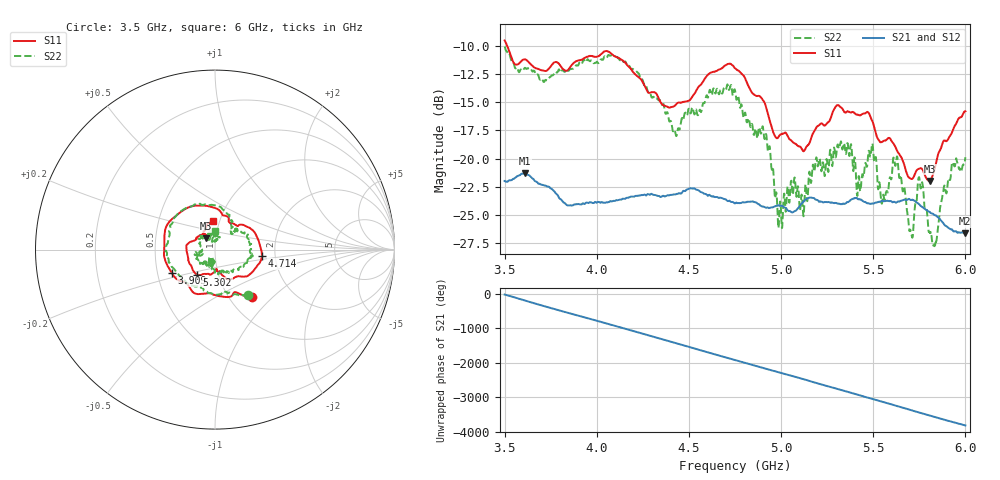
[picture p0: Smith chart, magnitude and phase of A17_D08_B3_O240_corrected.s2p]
! Created with skrf 1.9.0 (http://scikit-rf.org).
# Hz S RI R 50.0
!freq ReS11 ImS11 ReS21 ImS21 ReS12 ImS12 ReS22 ImS22
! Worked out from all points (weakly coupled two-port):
!   1601 points, 3.5 GHz to 6 GHz, reference 50 ohm
!   highest |S21| = -21.29 dB at 3.609 GHz (marker M1); lowest = -26.6 dB at 5.997 GHz (marker M2)
!   lowest |S11| = -22.0 dB at 5.806 GHz (marker M3), VSWR 1.17, Z = 44.9 + j5.6 ohm
!   |S11| at or under -10 dB: 3.514 GHz to end of sweep
!   |S22| runs from -27.8 to -10.1 dB; largest |S21 - S12| = 0.001
!   S11 on the Smith chart (normalised r, x): 3.5 GHz: 1.27, -0.75; 3.909 GHz: 0.60, -0.17; 4.714 GHz: 1.70, -0.13; 5.302 GHz: 0.79, -0.23; 6 GHz: 0.93, +0.31
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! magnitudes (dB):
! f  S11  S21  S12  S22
! 3.5 GHz  -9.5  -22.0  -22.0  -10.1
! 3.609 GHz  -11.2  -21.3  -21.3  -11.9
! 3.909 GHz  -11.3  -24.1  -24.0  -11.4
! 3.917 GHz  -11.2  -24.1  -24.1  -11.6
! 4.334 GHz  -14.6  -23.3  -23.3  -14.8
! 4.425 GHz  -15.3  -23.2  -23.2  -17.6
! 4.714 GHz  -11.6  -23.8  -23.8  -13.7
! 4.75 GHz  -12.0  -24.0  -23.9  -13.9
! 4.909 GHz  -15.0  -24.3  -24.3  -18.2
! 4.995 GHz  -17.9  -24.2  -24.1  -23.8
! 5.167 GHz  -18.0  -23.5  -23.5  -21.4
! 5.302 GHz  -15.3  -24.0  -23.9  -19.3
! 5.487 GHz  -16.4  -24.0  -24.0  -19.6
! 5.584 GHz  -18.2  -23.8  -23.7  -22.3
! 5.623 GHz  -19.1  -23.9  -23.9  -20.3
! 5.706 GHz  -21.8  -23.7  -23.6  -26.7
! 5.756 GHz  -20.9  -24.2  -24.1  -22.6
! 5.806 GHz  -22.0  -24.7  -24.7  -26.5
! 5.834 GHz  -20.8  -25.0  -25.0  -27.7
! 5.934 GHz  -17.4  -26.4  -26.4  -20.4
! 5.997 GHz  -15.8  -26.6  -26.6  -20.3
! 6 GHz  -15.8  -26.6  -26.6  -19.9
